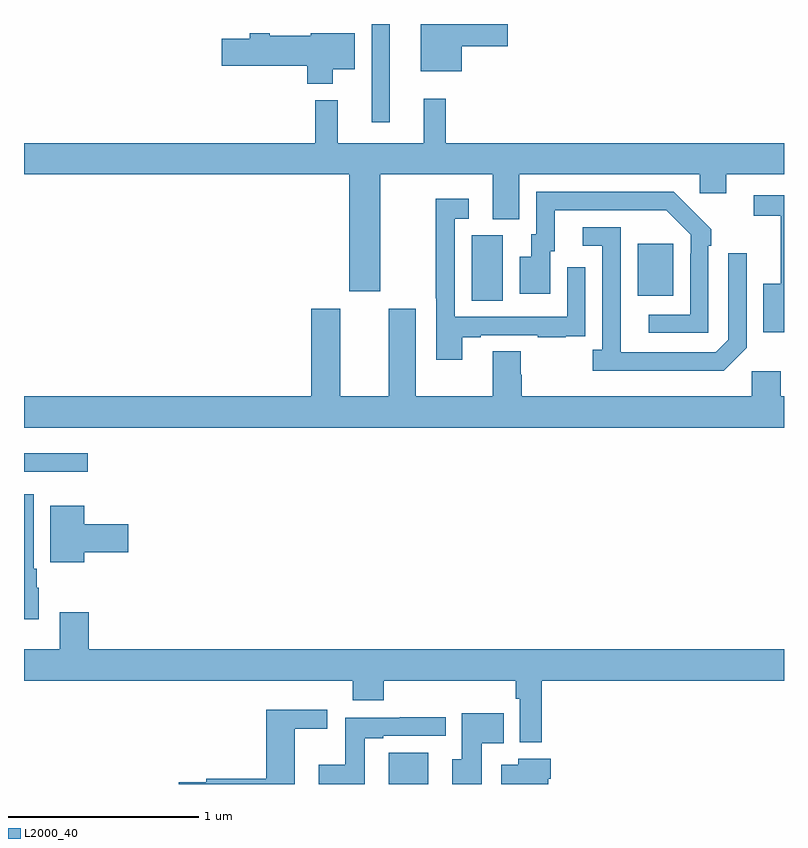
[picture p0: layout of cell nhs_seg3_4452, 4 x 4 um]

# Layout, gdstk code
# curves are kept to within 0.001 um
import gdstk
lib = gdstk.Library(unit=1e-6, precision=1e-09)
def R(c, l, rs):  # rectangles x0, y0, x1, y1
    for r in rs: c.add(gdstk.rectangle(r[:2], r[2:], *l))
def P(c, l, *ps):  # polygons
    for p in ps: c.add(gdstk.Polygon(p, *l))
L2000_40 = (2000, 40)

nhs_seg3_4452 = lib.new_cell('nhs_seg3_4452')
R(nhs_seg3_4452, L2000_40, [(350.921,672.4,351.127,672.565), (349,674.043,349.336,674.14), (351.356,674.944,351.52,675.288), (352.229,674.969,352.417,675.244), (350.829,675.882,350.926,676.4)])
P(nhs_seg3_4452, L2000_40, [(351.304,676.283),(351.547,676.283),(351.547,676.4),(351.089,676.4),(351.089,676.151),(351.304,676.151)],
  [(350.626,676.163),(350.74,676.163),(350.74,676.351),(350.508,676.351),(350.508,676.339),(350.293,676.339),(350.293,676.352),(350.189,676.352),(350.189,676.322),(350.04,676.322),(350.04,676.18),(350.492,676.18),(350.492,676.085),(350.626,676.085)],
  [(350.875,675.608),(351.467,675.608),(351.467,675.373),(351.607,675.373),(351.607,675.608),(352.557,675.608),(352.557,675.51),(352.696,675.51),(352.696,675.608),(353,675.608),(353,675.772),(351.221,675.772),(351.221,676.006),(351.104,676.006),(351.104,675.772),(350.651,675.772),(350.651,676),(350.533,676),(350.533,675.772),(349,675.772),(349,675.608),(350.711,675.608),(350.711,674.994),(350.875,674.994)],
  [(352.602,675.233),(352.617,675.233),(352.617,675.321),(352.42,675.516),(351.696,675.516),(351.696,675.294),(351.671,675.294),(351.671,675.175),(351.608,675.175),(351.608,674.979),(351.769,674.979),(351.769,675.204),(351.793,675.204),(351.793,675.42),(352.381,675.42),(352.509,675.291),(352.509,675.191),(352.506,675.191),(352.506,674.871),(352.287,674.871),(352.287,674.775),(352.602,674.775)],
  [(353,675.498),(352.842,675.498),(352.842,675.39),(352.982,675.39),(352.982,675.034),(352.892,675.034),(352.892,674.777),(353,674.777)],
  [(351.307,674.751),(351.403,674.751),(351.403,674.763),(351.703,674.763),(351.703,674.751),(351.851,674.751),(351.851,674.757),(351.953,674.757),(351.953,674.866),(351.954,674.866),(351.954,675.121),(351.858,675.121),(351.858,674.859),(351.267,674.859),(351.267,675.375),(351.34,675.375),(351.34,675.481),(351.166,675.481),(351.166,674.956),(351.171,674.956),(351.171,674.634),(351.307,674.634)],
  [(352.803,674.697),(352.803,675.193),(352.707,675.193),(352.707,674.739),(352.641,674.673),(352.141,674.673),(352.14,675.33),(351.942,675.33),(351.942,675.234),(352.044,675.234),(352.044,674.686),(351.993,674.686),(351.993,674.576),(352.682,674.576)],
  [(353,674.44),(352.982,674.44),(352.982,674.572),(352.83,674.572),(352.83,674.44),(351.62,674.44),(351.62,674.553),(351.615,674.553),(351.615,674.678),(351.467,674.678),(351.467,674.44),(351.061,674.44),(351.061,674.902),(350.921,674.902),(350.921,674.44),(350.665,674.44),(350.665,674.902),(350.513,674.902),(350.513,674.44),(349,674.44),(349,674.276),(353,674.276)],
  [(349.078,673.434),(349.066,673.434),(349.066,673.534),(349.051,673.534),(349.051,673.924),(349,673.924),(349,673.268),(349.078,673.268)],
  [(349.318,673.619),(349.549,673.619),(349.549,673.766),(349.318,673.766),(349.318,673.864),(349.139,673.864),(349.139,673.568),(349.318,673.568)],
  [(351.725,672.944),(353,672.944),(353,673.108),(349.34,673.108),(349.34,673.303),(349.187,673.303),(349.187,673.108),(349,673.108),(349,672.944),(350.729,672.944),(350.729,672.842),(350.894,672.842),(350.894,672.944),(351.589,672.944),(351.589,672.848),(351.609,672.848),(351.609,672.621),(351.725,672.621)],
  [(350.425,672.692),(350.596,672.692),(350.596,672.79),(350.276,672.79),(350.276,672.428),(349.96,672.428),(349.96,672.408),(349.814,672.408),(349.814,672.4),(350.425,672.4)],
  [(351.409,672.614),(351.524,672.614),(351.524,672.772),(351.305,672.772),(351.305,672.531),(351.255,672.531),(351.255,672.4),(351.409,672.4)],
  [(350.793,672.642),(350.89,672.642),(350.89,672.654),(351.22,672.654),(351.22,672.752),(350.977,672.752),(350.977,672.75),(350.692,672.75),(350.692,672.502),(350.55,672.502),(350.55,672.4),(350.793,672.4)],
  [(351.76,672.428),(351.773,672.428),(351.773,672.532),(351.602,672.532),(351.602,672.502),(351.512,672.502),(351.512,672.4),(351.76,672.4)])

lib.write_gds('nhs_seg3_4452.gds')
